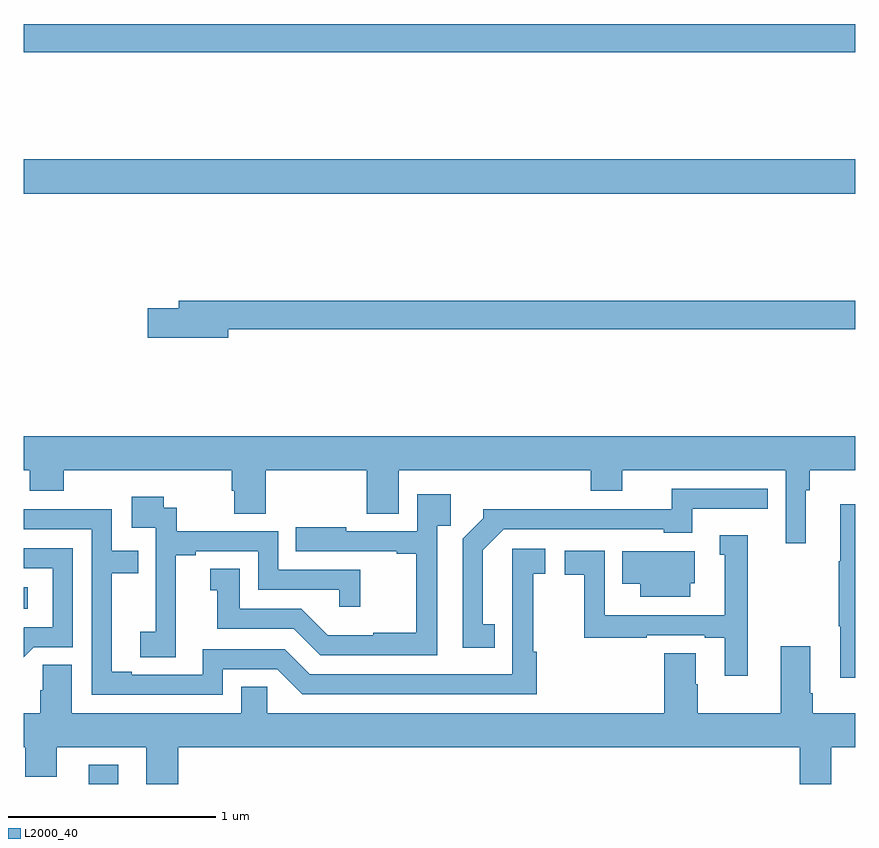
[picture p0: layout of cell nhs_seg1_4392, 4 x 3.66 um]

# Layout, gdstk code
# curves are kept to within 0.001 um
import gdstk
lib = gdstk.Library(unit=1e-6, precision=1e-09)
def R(c, l, rs):  # rectangles x0, y0, x1, y1
    for r in rs: c.add(gdstk.rectangle(r[:2], r[2:], *l))
def P(c, l, *ps):  # polygons
    for p in ps: c.add(gdstk.Polygon(p, *l))
L2000_40 = (2000, 40)

nhs_seg1_4392 = lib.new_cell('nhs_seg1_4392')
R(nhs_seg1_4392, L2000_40, [(349.313,574.199,349.453,574.291), (349,575.042,349.018,575.146), (349,577.04,353,577.204), (349,577.72,353,577.856)])
P(nhs_seg1_4392, L2000_40, [(349.984,576.388),(353,576.388),(353,576.524),(349.745,576.524),(349.745,576.488),(349.596,576.488),(349.596,576.346),(349.984,576.346)],
  [(349,575.708),(349.028,575.708),(349.028,575.609),(349.193,575.609),(349.193,575.708),(350,575.708),(350,575.61),(350.012,575.61),(350.012,575.5),(350.165,575.5),(350.165,575.708),(350.651,575.708),(350.651,575.5),(350.803,575.5),(350.803,575.708),(351.728,575.708),(351.728,575.609),(351.88,575.609),(351.88,575.708),(352.665,575.708),(352.665,575.358),(352.762,575.358),(352.762,575.612),(352.781,575.612),(352.781,575.708),(353,575.708),(353,575.872),(349,575.872)],
  [(351.266,574.967),(351.208,574.967),(351.208,575.323),(351.309,575.424),(352.08,575.424),(352.08,575.408),(352.216,575.408),(352.216,575.523),(352.58,575.523),(352.58,575.619),(352.117,575.619),(352.117,575.52),(351.644,575.52),(351.644,575.522),(351.21,575.522),(351.21,575.477),(351.111,575.378),(351.111,574.854),(351.266,574.854)],
  [(350.988,575.441),(351.053,575.441),(351.053,575.593),(350.892,575.593),(350.892,575.415),(350.551,575.415),(350.551,575.434),(350.308,575.434),(350.308,575.319),(350.795,575.319),(350.795,575.307),(350.887,575.307),(350.887,574.927),(350.681,574.927),(350.681,574.915),(350.462,574.915),(350.334,575.043),(350.038,575.043),(350.038,575.234),(349.898,575.234),(349.898,575.131),(349.931,575.131),(349.931,574.947),(350.298,574.947),(350.427,574.818),(350.988,574.818)],
  [(349.73,574.921),(349.732,574.921),(349.732,575.299),(349.828,575.299),(349.828,575.319),(350.127,575.319),(350.127,575.133),(350.517,575.133),(350.517,575.052),(350.618,575.052),(350.618,575.229),(350.223,575.229),(350.223,575.415),(349.736,575.415),(349.736,575.529),(349.674,575.529),(349.674,575.581),(349.518,575.581),(349.518,575.433),(349.635,575.433),(349.635,575.129),(349.634,575.129),(349.634,574.932),(349.56,574.932),(349.56,574.81),(349.73,574.81)],
  [(353,575.545),(352.928,575.545),(352.928,575.27),(352.921,575.27),(352.921,574.959),(352.928,574.959),(352.928,574.71),(353,574.71)],
  [(349.956,574.752),(350.22,574.752),(350.34,574.632),(351.467,574.632),(351.467,574.835),(351.45,574.835),(351.45,575.211),(351.508,575.211),(351.508,575.332),(351.35,575.332),(351.351,574.728),(350.376,574.728),(350.256,574.848),(349.86,574.848),(349.86,574.725),(349.519,574.725),(349.519,574.74),(349.423,574.74),(349.423,575.214),(349.55,575.214),(349.55,575.322),(349.422,575.322),(349.422,575.52),(349,575.52),(349,575.424),(349.326,575.424),(349.326,574.629),(349.956,574.629)],
  [(352.483,575.395),(352.349,575.395),(352.349,575.301),(352.373,575.301),(352.373,575.01),(351.796,575.01),(351.796,575.011),(351.795,575.011),(351.795,575.322),(351.603,575.322),(351.603,575.206),(351.697,575.206),(351.697,574.902),(351.998,574.902),(351.998,574.914),(352.277,574.914),(352.277,574.902),(352.373,574.902),(352.373,574.719),(352.483,574.719)],
  [(349.047,574.857),(349.236,574.857),(349.236,575.334),(349,575.334),(349,575.238),(349.14,575.238),(349.14,574.953),(349.002,574.953),(349,574.951),(349,574.81)],
  [(352.207,575.166),(352.228,575.166),(352.228,575.32),(351.88,575.32),(351.88,575.162),(351.965,575.162),(351.965,575.099),(352.207,575.099)],
  [(349.742,574.376),(352.733,574.376),(352.733,574.199),(352.885,574.199),(352.885,574.376),(353,574.376),(353,574.54),(352.796,574.54),(352.796,574.636),(352.783,574.636),(352.783,574.861),(352.643,574.861),(352.643,574.54),(352.242,574.54),(352.242,574.679),(352.234,574.679),(352.234,574.829),(352.082,574.829),(352.082,574.54),(350.172,574.54),(350.172,574.667),(350.045,574.667),(350.045,574.54),(349.231,574.54),(349.231,574.772),(349.092,574.772),(349.092,574.649),(349.079,574.649),(349.079,574.54),(349,574.54),(349,574.376),(349.007,574.376),(349.007,574.235),(349.159,574.235),(349.159,574.376),(349.589,574.376),(349.589,574.199),(349.742,574.199)])

lib.write_gds('nhs_seg1_4392.gds')
